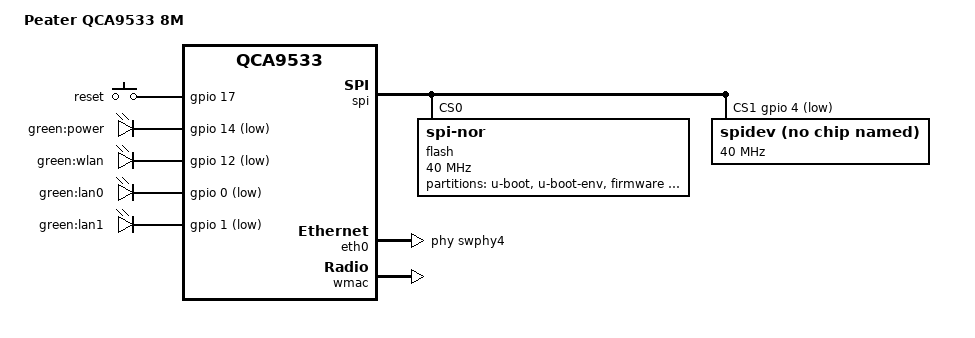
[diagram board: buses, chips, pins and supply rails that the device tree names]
// SPDX-License-Identifier: GPL-2.0-or-later OR MIT

#include "qca953x.dtsi"

#include <dt-bindings/gpio/gpio.h>
#include <dt-bindings/input/input.h>

/ {
	compatible = "peater,qca9533", "qca,qca9533";
	model = "Peater QCA9533 8M";

	aliases {
		led-boot = &led_power;
		led-failsafe = &led_power;
		led-running = &led_power;
		led-upgrade = &led_power;
		label-mac-device = &eth1;
	};

	keys {
		compatible = "gpio-keys";

		pinctrl-names = "default";

		reset {
			label = "reset";
			linux,input-type = <EV_SW>;
			linux,code = <KEY_RESTART>;
			gpios = <&gpio 17 GPIO_ACTIVE_HIGH>;
		};
	};

	leds {
		compatible = "gpio-leds";

		led_power: power {
			label = "green:power";
			gpios = <&gpio 14 GPIO_ACTIVE_LOW>;
			default-state = "on";
		};

		wlan {
			label = "green:wlan";
			gpios = <&gpio 12 GPIO_ACTIVE_LOW>;
			linux,default-trigger = "phy0tpt";
		};

		lan0 {
			label = "green:lan0";
			gpios = <&gpio 0 GPIO_ACTIVE_LOW>;
		};
		lan1 {
			label = "green:lan1";
			gpios = <&gpio 1 GPIO_ACTIVE_LOW>;
		};
	};
};

&spi {
	status = "okay";
	compatible = "qca,ar7100-spi"; /* https://github.com/openwrt/openwrt/commit/ebf0d8d */
	cs-gpios = <0>, <&gpio 4 GPIO_ACTIVE_LOW>;

	flash@0 {
		compatible = "jedec,spi-nor";
		reg = <0>;
		spi-max-frequency = <40000000>;

		partitions {
			compatible = "fixed-partitions";
			#address-cells = <1>;
			#size-cells = <1>;

			partition@0 {
				label = "u-boot";
				reg = <0x000000 0x040000>;
				read-only;
			};

			partition@40000 {
				label = "u-boot-env";
				reg = <0x040000 0x010000>;
				read-only;
			};

			partition@50000 {
				compatible = "denx,uimage";
				label = "firmware";
				reg = <0x050000 0x7a0000>;
			};
			
			art: partition@7f0000 {
				label = "art";
				reg = <0x7f0000 0x010000>;
				read-only;
			};
		};
	};

	spidev@1 {
		compatible = "rohm,dh2228fv"; /* dirty hack because linux,spidev does not work in 5.15 */
		reg = <1>;
		spi-max-frequency = <40000000>;
	};
};

&eth0 {
	status = "okay";

	phy-handle = <&swphy4>;

	nvmem-cells = <&macaddr_art_0>;
	nvmem-cell-names = "mac-address";
};

&eth1 {
	nvmem-cells = <&macaddr_art_6>;
	nvmem-cell-names = "mac-address";
};

&wmac {
	status = "okay";
	mtd-cal-data = <&art 0x1000>;
};

&art {
	compatible = "nvmem-cells";
	#address-cells = <1>;
	#size-cells = <1>;

	macaddr_art_0: macaddr@0 {
		reg = <0x0 0x6>;
	};

	macaddr_art_6: macaddr@6 {
		reg = <0x6 0x6>;
	};
};
